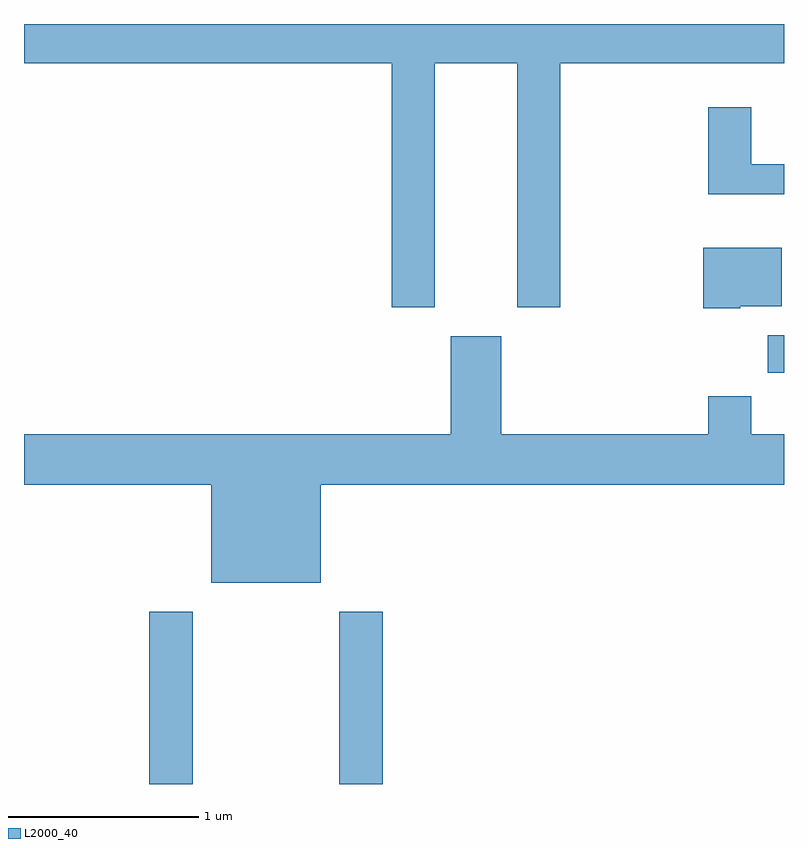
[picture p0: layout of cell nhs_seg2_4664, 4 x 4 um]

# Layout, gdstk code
import gdstk
lib = gdstk.Library(unit=1e-6, precision=1e-09)
def R(c, l, rs):  # rectangles x0, y0, x1, y1
    for r in rs: c.add(gdstk.rectangle(r[:2], r[2:], *l))
def P(c, l, *ps):  # polygons
    for p in ps: c.add(gdstk.Polygon(p, *l))
L2000_40 = (2000, 40)

nhs_seg2_4664 = lib.new_cell('nhs_seg2_4664')
R(nhs_seg2_4664, L2000_40, [(322.271,1097.802,322.499,1098.709), (323.271,1097.802,323.499,1098.709), (325.526,1099.966,325.611,1100.164)])
P(nhs_seg2_4664, L2000_40, [(321.611,1101.596),(323.546,1101.596),(323.546,1100.311),(323.774,1100.311),(323.774,1101.596),(324.206,1101.596),(324.206,1100.311),(324.434,1100.311),(324.434,1101.596),(325.611,1101.596),(325.611,1101.802),(321.611,1101.802)],
  [(325.611,1101.064),(325.439,1101.064),(325.439,1101.364),(325.211,1101.364),(325.211,1100.906),(325.611,1100.906)],
  [(325.38,1100.316),(325.599,1100.316),(325.599,1100.624),(325.186,1100.624),(325.186,1100.306),(325.38,1100.306)],
  [(323.174,1099.376),(325.611,1099.376),(325.611,1099.644),(325.439,1099.644),(325.439,1099.844),(325.211,1099.844),(325.211,1099.644),(324.124,1099.644),(324.124,1100.159),(323.856,1100.159),(323.856,1099.644),(321.611,1099.644),(321.611,1099.376),(322.596,1099.376),(322.596,1098.861),(323.174,1098.861)])

lib.write_gds('nhs_seg2_4664.gds')
